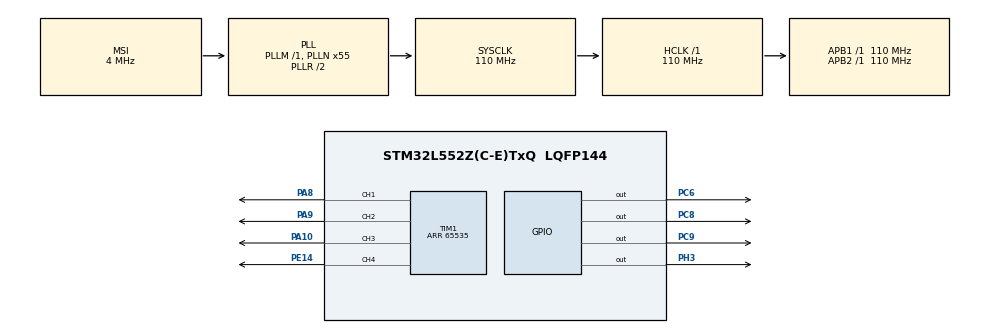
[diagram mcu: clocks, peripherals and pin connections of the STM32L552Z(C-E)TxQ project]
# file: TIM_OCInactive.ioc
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Mcu.Family=STM32L5
Mcu.Name=STM32L552Z(C-E)TxQ
Mcu.Package=LQFP144
NVIC.PriorityGroup=NVIC_PRIORITYGROUP_3
NVIC.TIM1_CC_IRQn=true\:0\:0\:false\:false\:true\:true\:true\:true
PA10.GPIO_PuPd=GPIO_PULLUP
PA10.GPIO_Speed=GPIO_SPEED_FREQ_VERY_HIGH
PA10.Signal=S_TIM1_CH3
PA8.GPIO_PuPd=GPIO_PULLUP
PA8.GPIO_Speed=GPIO_SPEED_FREQ_VERY_HIGH
PA8.Signal=S_TIM1_CH1
PA9.GPIO_PuPd=GPIO_PULLUP
PA9.GPIO_Speed=GPIO_SPEED_FREQ_VERY_HIGH
PA9.Signal=S_TIM1_CH2
PC6.GPIO_PuPd=GPIO_PULLUP
PC6.GPIO_Speed=GPIO_SPEED_FREQ_HIGH
PC6.Signal=GPIO_Output
PC8.GPIO_PuPd=GPIO_PULLUP
PC8.GPIO_Speed=GPIO_SPEED_FREQ_HIGH
PC8.Signal=GPIO_Output
PC9.GPIO_PuPd=GPIO_PULLUP
PC9.GPIO_Speed=GPIO_SPEED_FREQ_HIGH
PC9.Signal=GPIO_Output
PE14.GPIO_PuPd=GPIO_PULLUP
PE14.GPIO_Speed=GPIO_SPEED_FREQ_VERY_HIGH
PE14.Signal=S_TIM1_CH4
PH3-BOOT0.GPIO_PuPd=GPIO_PULLUP
PH3-BOOT0.GPIO_Speed=GPIO_SPEED_FREQ_HIGH
PH3-BOOT0.Signal=GPIO_Output
ProjectManager.HeapSize=0x200
ProjectManager.StackSize=0x400
ProjectManager.TargetToolchain=EWARM V8.32
RCC.ADCCLockSelection=RCC_ADCCLKSOURCE_SYSCLK
RCC.ADCFreq_Value=110000000
RCC.AHBFreq_Value=110000000
RCC.APB1Freq_Value=110000000
RCC.APB1TimFreq_Value=110000000
RCC.APB2Freq_Value=110000000
RCC.APB2TimFreq_Value=110000000
RCC.CortexFreq_Value=110000000
RCC.DATA_CACHE_ENABLE=0
RCC.HCLKFreq_Value=110000000
RCC.HSE_VALUE=16000000
RCC.HSI48_VALUE=48000000
RCC.HSI_VALUE=16000000
RCC.INSTRUCTION_CACHE_ENABLE=0
RCC.LSE_VALUE=32768
RCC.MSI_VALUE=4000000
RCC.PLLN=55
RCC.PLLSAI1N=24
RCC.RTCClockSelection=RCC_RTCCLKSOURCE_LSE
RCC.SYSCLKFreq_VALUE=110000000
RCC.SYSCLKSource=RCC_SYSCLKSOURCE_PLLCLK
RCC.USBFreq_Value=48000000
RCC.VCOOutputFreq_Value=220000000
SH.S_TIM1_CH1.0=TIM1_CH1,Output Compare1 CH1
SH.S_TIM1_CH2.0=TIM1_CH2,Output Compare2 CH2
SH.S_TIM1_CH3.0=TIM1_CH3,Output Compare3 CH3
SH.S_TIM1_CH4.0=TIM1_CH4,Output Compare4 CH4
TIM1.AutoReloadPreload=TIM_AUTORELOAD_PRELOAD_DISABLE
TIM1.AutomaticOutput=TIM_AUTOMATICOUTPUT_DISABLE
TIM1.Break2Filter=0
TIM1.Break2Polarity=TIM_BREAK2POLARITY_HIGH
TIM1.Break2State=TIM_BREAK2_DISABLE
TIM1.BreakFilter=0
TIM1.BreakPolarity=TIM_BREAKPOLARITY_HIGH
TIM1.BreakState=TIM_BREAK_DISABLE
TIM1.Channel-Output\ Compare1\ CH1=TIM_CHANNEL_1
TIM1.Channel-Output\ Compare2\ CH2=TIM_CHANNEL_2
TIM1.Channel-Output\ Compare3\ CH3=TIM_CHANNEL_3
TIM1.Channel-Output\ Compare4\ CH4=TIM_CHANNEL_4
TIM1.ClearInputSource=TIM_CLEARINPUTSOURCE_NONE
TIM1.ClockDivision=TIM_CLOCKDIVISION_DIV1
TIM1.CounterMode=TIM_COUNTERMODE_UP
TIM1.LockLevel=TIM_LOCKLEVEL_OFF
TIM1.OC1Preload=DISABLE
TIM1.OC2Preload=DISABLE
TIM1.OC3Preload=DISABLE
TIM1.OC4Preload=DISABLE
TIM1.OCIdleState_1=TIM_OCIDLESTATE_RESET
TIM1.OCIdleState_2=TIM_OCIDLESTATE_RESET
TIM1.OCIdleState_3=TIM_OCIDLESTATE_RESET
TIM1.OCIdleState_4=TIM_OCIDLESTATE_RESET
TIM1.OCMode_1=TIM_OCMODE_INACTIVE
TIM1.OCMode_2=TIM_OCMODE_INACTIVE
TIM1.OCMode_3=TIM_OCMODE_INACTIVE
TIM1.OCMode_4=TIM_OCMODE_INACTIVE
TIM1.OCPolarity_1=TIM_OCPOLARITY_HIGH
TIM1.OCPolarity_2=TIM_OCPOLARITY_HIGH
TIM1.OCPolarity_3=TIM_OCPOLARITY_HIGH
TIM1.OCPolarity_4=TIM_OCPOLARITY_HIGH
TIM1.OffStateIDLEMode=TIM_OSSI_DISABLE
TIM1.OffStateRunMode=TIM_OSSR_DISABLE
TIM1.Period=65535
TIM1.Prescaler=PRESCALER_VALUE
TIM1.Pulse-Output\ Compare1\ CH1=PULSE1_VALUE
TIM1.Pulse-Output\ Compare2\ CH2=PULSE2_VALUE
TIM1.Pulse-Output\ Compare3\ CH3=PULSE3_VALUE
TIM1.Pulse-Output\ Compare4\ CH4=PULSE4_VALUE
TIM1.RepetitionCounter=0
TIM1.SourceBRK2COMP1=TIM_BREAKINPUTSOURCE_DISABLE
TIM1.SourceBRK2COMP2=TIM_BREAKINPUTSOURCE_DISABLE
TIM1.SourceBRK2DFSDM1=TIM_BREAKINPUTSOURCE_DISABLE
TIM1.SourceBRK2DigInput=TIM_BREAKINPUTSOURCE_DISABLE
TIM1.SourceBRKCOMP1=TIM_BREAKINPUTSOURCE_DISABLE
TIM1.SourceBRKCOMP2=TIM_BREAKINPUTSOURCE_DISABLE
TIM1.SourceBRKDFSDM1=TIM_BREAKINPUTSOURCE_DISABLE
TIM1.SourceBRKDigInput=TIM_BREAKINPUTSOURCE_DISABLE
TIM1.TIM_MasterOutputTrigger=TIM_TRGO_RESET
TIM1.TIM_MasterOutputTrigger2=TIM_TRGO2_RESET
TIM1.TIM_MasterSlaveMode=TIM_MASTERSLAVEMODE_DISABLE
VP_ICACHE_VS_ICACHE.Mode=DirectMappedCache
VP_PWR_VS_DBSignals.Mode=DisableDeadBatterySignals
board=custom

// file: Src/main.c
/* USER CODE BEGIN Header */
/**
  ******************************************************************************
  * @file    TIM/TIM_OCInactive/Src/main.c
  * @author  MCD Application Team
  * @brief   This example shows how to configure the Timer to generate four
  *          delayed signals.
  ******************************************************************************
  * @attention
  *
  * Copyright (c) 2019 STMicroelectronics.
  * All rights reserved.
  *
  * This software is licensed under terms that can be found in the LICENSE file
  * in the root directory of this software component.
  * If no LICENSE file comes with this software, it is provided AS-IS.
  *
  ******************************************************************************
  */
/* USER CODE END Header */
#include "main.h"

TIM_HandleTypeDef htim1;

void SystemClock_Config(void);
static void MX_GPIO_Init(void);
static void MX_ICACHE_Init(void);
static void MX_TIM1_Init(void);

int main(void)
{
  /* USER CODE BEGIN 1 */
  /* STM32L5xx HAL library initialization:
       - Systick timer is configured by default as source of time base, but user
         can eventually implement his proper time base source (a general purpose
         timer for example or other time source), keeping in mind that Time base
         duration should be kept 1ms since PPP_TIMEOUT_VALUEs are defined and
         handled in milliseconds basis.
       - Set NVIC Group Priority to 3
       - Low Level Initialization
     */
  /* USER CODE END 1 */

  /* MCU Configuration--------------------------------------------------------*/

  /* Reset of all peripherals, Initializes the Flash interface and the Systick. */
  HAL_Init();

  /* Configure the system clock */
  SystemClock_Config();

  /* Initialize all configured peripherals */
  MX_GPIO_Init();
  MX_ICACHE_Init();
  MX_TIM1_Init();
  /* USER CODE BEGIN 2 */
  /*## Set GPIO Pins PH3, PC6, PC8 and PC9 as reference ###################*/
  HAL_GPIO_WritePin(GPIOH, GPIO_PIN_3, GPIO_PIN_SET);
  HAL_GPIO_WritePin(GPIOC, GPIO_PIN_6, GPIO_PIN_SET);
  HAL_GPIO_WritePin(GPIOC, GPIO_PIN_8, GPIO_PIN_SET);
  HAL_GPIO_WritePin(GPIOC, GPIO_PIN_9, GPIO_PIN_SET);

  /*## Start signals generation #######################################*/
  /* Start channel 1 in Output compare mode */
  if(HAL_TIM_OC_Start_IT(&htim1, TIM_CHANNEL_1) != HAL_OK)
  {
    /* Starting Error */
    Error_Handler();
  }
  /* Start channel 2 in Output compare mode */
  if(HAL_TIM_OC_Start_IT(&htim1, TIM_CHANNEL_2) != HAL_OK)
  {
    /* Starting Error */
    Error_Handler();
  }
  /* Start channel 3 in Output compare mode */
  if(HAL_TIM_OC_Start_IT(&htim1, TIM_CHANNEL_3) != HAL_OK)
  {
    /* Starting Error */
    Error_Handler();
  }
  /* Start channel 4 in Output compare mode */
  if(HAL_TIM_OC_Start_IT(&htim1, TIM_CHANNEL_4) != HAL_OK)
  {
    /* Starting Error */
    Error_Handler();
  }

  /* USER CODE END 2 */

  /* Infinite loop */
  while (1)
  {

  }
}

void SystemClock_Config(void)
{
  RCC_OscInitTypeDef RCC_OscInitStruct = {0};
  RCC_ClkInitTypeDef RCC_ClkInitStruct = {0};

  /** Configure the main internal regulator output voltage
  */
  if (HAL_PWREx_ControlVoltageScaling(PWR_REGULATOR_VOLTAGE_SCALE0) != HAL_OK)
  {
    Error_Handler();
  }

  /** Initializes the RCC Oscillators according to the specified parameters
  * in the RCC_OscInitTypeDef structure.
  */
  RCC_OscInitStruct.OscillatorType = RCC_OSCILLATORTYPE_MSI;
  RCC_OscInitStruct.MSIState = RCC_MSI_ON;
  RCC_OscInitStruct.MSICalibrationValue = RCC_MSICALIBRATION_DEFAULT;
  RCC_OscInitStruct.MSIClockRange = RCC_MSIRANGE_6;
  RCC_OscInitStruct.PLL.PLLState = RCC_PLL_ON;
  RCC_OscInitStruct.PLL.PLLSource = RCC_PLLSOURCE_MSI;
  RCC_OscInitStruct.PLL.PLLM = 1;
  RCC_OscInitStruct.PLL.PLLN = 55;
  RCC_OscInitStruct.PLL.PLLP = RCC_PLLP_DIV7;
  RCC_OscInitStruct.PLL.PLLQ = RCC_PLLQ_DIV2;
  RCC_OscInitStruct.PLL.PLLR = RCC_PLLR_DIV2;
  if (HAL_RCC_OscConfig(&RCC_OscInitStruct) != HAL_OK)
  {
    Error_Handler();
  }

  /** Initializes the CPU, AHB and APB buses clocks
  */
  RCC_ClkInitStruct.ClockType = RCC_CLOCKTYPE_HCLK|RCC_CLOCKTYPE_SYSCLK
                              |RCC_CLOCKTYPE_PCLK1|RCC_CLOCKTYPE_PCLK2;
  RCC_ClkInitStruct.SYSCLKSource = RCC_SYSCLKSOURCE_PLLCLK;
  RCC_ClkInitStruct.AHBCLKDivider = RCC_SYSCLK_DIV1;
  RCC_ClkInitStruct.APB1CLKDivider = RCC_HCLK_DIV1;
  RCC_ClkInitStruct.APB2CLKDivider = RCC_HCLK_DIV1;

  if (HAL_RCC_ClockConfig(&RCC_ClkInitStruct, FLASH_LATENCY_5) != HAL_OK)
  {
    Error_Handler();
  }
}

static void MX_ICACHE_Init(void)
{

  /** Enable instruction cache in 1-way (direct mapped cache)
  */
  if (HAL_ICACHE_ConfigAssociativityMode(ICACHE_1WAY) != HAL_OK)
  {
    Error_Handler();
  }
  if (HAL_ICACHE_Enable() != HAL_OK)
  {
    Error_Handler();
  }

}

static void MX_TIM1_Init(void)
{

  TIM_MasterConfigTypeDef sMasterConfig = {0};
  TIM_OC_InitTypeDef sConfigOC = {0};
  TIM_BreakDeadTimeConfigTypeDef sBreakDeadTimeConfig = {0};

  htim1.Instance = TIM1;
  htim1.Init.Prescaler = PRESCALER_VALUE;
  htim1.Init.CounterMode = TIM_COUNTERMODE_UP;
  htim1.Init.Period = 65535;
  htim1.Init.ClockDivision = TIM_CLOCKDIVISION_DIV1;
  htim1.Init.RepetitionCounter = 0;
  htim1.Init.AutoReloadPreload = TIM_AUTORELOAD_PRELOAD_DISABLE;
  if (HAL_TIM_OC_Init(&htim1) != HAL_OK)
  {
    Error_Handler();
  }
  sMasterConfig.MasterOutputTrigger = TIM_TRGO_RESET;
  sMasterConfig.MasterOutputTrigger2 = TIM_TRGO2_RESET;
  sMasterConfig.MasterSlaveMode = TIM_MASTERSLAVEMODE_DISABLE;
  if (HAL_TIMEx_MasterConfigSynchronization(&htim1, &sMasterConfig) != HAL_OK)
  {
    Error_Handler();
  }
  sConfigOC.OCMode = TIM_OCMODE_INACTIVE;
  sConfigOC.Pulse = PULSE1_VALUE;
  sConfigOC.OCPolarity = TIM_OCPOLARITY_HIGH;
  sConfigOC.OCNPolarity = TIM_OCNPOLARITY_HIGH;
  sConfigOC.OCFastMode = TIM_OCFAST_DISABLE;
  sConfigOC.OCIdleState = TIM_OCIDLESTATE_RESET;
  sConfigOC.OCNIdleState = TIM_OCNIDLESTATE_RESET;
  if (HAL_TIM_OC_ConfigChannel(&htim1, &sConfigOC, TIM_CHANNEL_1) != HAL_OK)
  {
    Error_Handler();
  }
  sConfigOC.Pulse = PULSE2_VALUE;
  if (HAL_TIM_OC_ConfigChannel(&htim1, &sConfigOC, TIM_CHANNEL_2) != HAL_OK)
  {
    Error_Handler();
  }
  sConfigOC.Pulse = PULSE3_VALUE;
  if (HAL_TIM_OC_ConfigChannel(&htim1, &sConfigOC, TIM_CHANNEL_3) != HAL_OK)
  {
    Error_Handler();
  }
  sConfigOC.Pulse = PULSE4_VALUE;
  if (HAL_TIM_OC_ConfigChannel(&htim1, &sConfigOC, TIM_CHANNEL_4) != HAL_OK)
  {
    Error_Handler();
  }
  sBreakDeadTimeConfig.OffStateRunMode = TIM_OSSR_DISABLE;
  sBreakDeadTimeConfig.OffStateIDLEMode = TIM_OSSI_DISABLE;
  sBreakDeadTimeConfig.LockLevel = TIM_LOCKLEVEL_OFF;
  sBreakDeadTimeConfig.DeadTime = 0;
  sBreakDeadTimeConfig.BreakState = TIM_BREAK_DISABLE;
  sBreakDeadTimeConfig.BreakPolarity = TIM_BREAKPOLARITY_HIGH;
  sBreakDeadTimeConfig.BreakFilter = 0;
  sBreakDeadTimeConfig.BreakAFMode = TIM_BREAK_AFMODE_INPUT;
  sBreakDeadTimeConfig.Break2State = TIM_BREAK2_DISABLE;
  sBreakDeadTimeConfig.Break2Polarity = TIM_BREAK2POLARITY_HIGH;
  sBreakDeadTimeConfig.Break2Filter = 0;
  sBreakDeadTimeConfig.Break2AFMode = TIM_BREAK_AFMODE_INPUT;
  sBreakDeadTimeConfig.AutomaticOutput = TIM_AUTOMATICOUTPUT_DISABLE;
  if (HAL_TIMEx_ConfigBreakDeadTime(&htim1, &sBreakDeadTimeConfig) != HAL_OK)
  {
    Error_Handler();
  }
  HAL_TIM_MspPostInit(&htim1);

}

static void MX_GPIO_Init(void)
{
  GPIO_InitTypeDef GPIO_InitStruct = {0};

  /* GPIO Ports Clock Enable */
  __HAL_RCC_GPIOE_CLK_ENABLE();
  __HAL_RCC_GPIOC_CLK_ENABLE();
  __HAL_RCC_GPIOA_CLK_ENABLE();
  __HAL_RCC_GPIOH_CLK_ENABLE();

  /*Configure GPIO pin Output Level */
  HAL_GPIO_WritePin(GPIOC, GPIO_PIN_6|GPIO_PIN_8|GPIO_PIN_9, GPIO_PIN_RESET);

  /*Configure GPIO pin Output Level */
  HAL_GPIO_WritePin(GPIOH, GPIO_PIN_3, GPIO_PIN_RESET);

  /*Configure GPIO pins : PC6 PC8 PC9 */
  GPIO_InitStruct.Pin = GPIO_PIN_6|GPIO_PIN_8|GPIO_PIN_9;
  GPIO_InitStruct.Mode = GPIO_MODE_OUTPUT_PP;
  GPIO_InitStruct.Pull = GPIO_PULLUP;
  GPIO_InitStruct.Speed = GPIO_SPEED_FREQ_HIGH;
  HAL_GPIO_Init(GPIOC, &GPIO_InitStruct);

  /*Configure GPIO pin : PH3 */
  GPIO_InitStruct.Pin = GPIO_PIN_3;
  GPIO_InitStruct.Mode = GPIO_MODE_OUTPUT_PP;
  GPIO_InitStruct.Pull = GPIO_PULLUP;
  GPIO_InitStruct.Speed = GPIO_SPEED_FREQ_HIGH;
  HAL_GPIO_Init(GPIOH, &GPIO_InitStruct);

}

/* USER CODE BEGIN 4 */
/**
  * @brief  Output Compare callback in non blocking mode
  * @param  htim : TIM OC handle
  * @retval None
  */
void HAL_TIM_OC_DelayElapsedCallback(TIM_HandleTypeDef *htim)
{
  if(htim->Channel == HAL_TIM_ACTIVE_CHANNEL_1)
  {
    /* Reset GPIO Pin PH3 after 1s */
    HAL_GPIO_WritePin(GPIOH, GPIO_PIN_3, GPIO_PIN_RESET);
  }
  else if(htim->Channel == HAL_TIM_ACTIVE_CHANNEL_2)
  {
    /* Reset GPIO Pin PC6 after 500ms */
    HAL_GPIO_WritePin(GPIOC, GPIO_PIN_6, GPIO_PIN_RESET);
  }
  else if(htim->Channel == HAL_TIM_ACTIVE_CHANNEL_3)
  {
    /* Reset GPIO Pin PC8 after 250ms */
    HAL_GPIO_WritePin(GPIOC, GPIO_PIN_8, GPIO_PIN_RESET);
  }
  else
  {
    /* Reset GPIO Pin PC9 after 125ms */
    HAL_GPIO_WritePin(GPIOC, GPIO_PIN_9, GPIO_PIN_RESET);
  }
}

/* USER CODE END 4 */

void Error_Handler(void)
{
  while(1)
  {
  }
}
